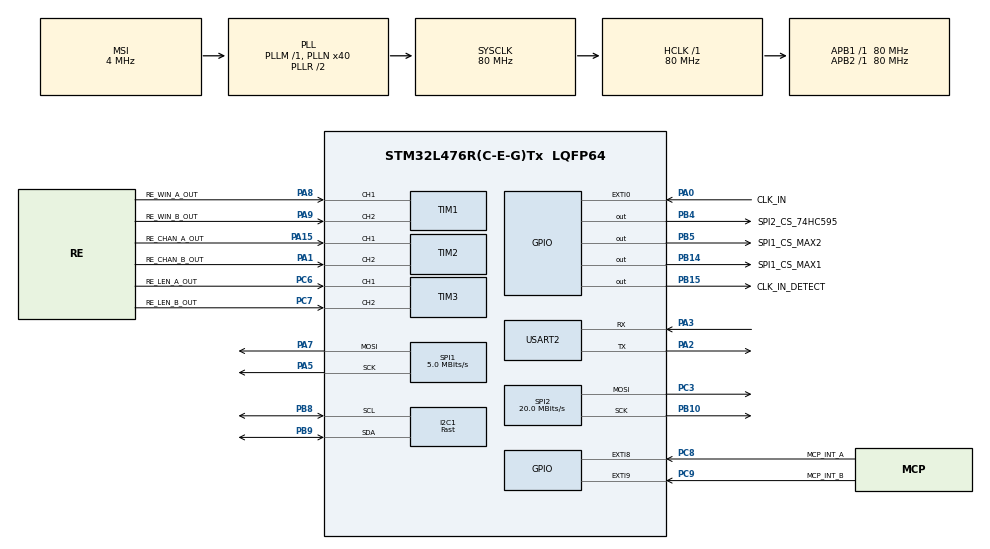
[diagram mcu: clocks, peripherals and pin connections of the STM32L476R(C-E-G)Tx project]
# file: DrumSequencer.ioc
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Dma.I2C1_TX.0.Direction=DMA_MEMORY_TO_PERIPH
Dma.I2C1_TX.0.Instance=DMA1_Channel6
Dma.I2C1_TX.0.MemDataAlignment=DMA_MDATAALIGN_BYTE
Dma.I2C1_TX.0.MemInc=DMA_MINC_ENABLE
Dma.I2C1_TX.0.Mode=DMA_NORMAL
Dma.I2C1_TX.0.PeriphDataAlignment=DMA_PDATAALIGN_BYTE
Dma.I2C1_TX.0.PeriphInc=DMA_PINC_DISABLE
Dma.I2C1_TX.0.Priority=DMA_PRIORITY_LOW
Dma.Request0=I2C1_TX
I2C1.I2C_Speed_Mode=I2C_Fast
I2C1.Timing=0x00F12981
Mcu.Family=STM32L4
Mcu.Name=STM32L476R(C-E-G)Tx
Mcu.Package=LQFP64
NVIC.DMA1_Channel6_IRQn=true\:3\:0\:true\:false\:true\:false\:true\:true
NVIC.EXTI0_IRQn=true\:2\:0\:true\:false\:true\:true\:true\:true
NVIC.EXTI9_5_IRQn=true\:2\:0\:true\:false\:true\:true\:true\:true
NVIC.I2C1_ER_IRQn=true\:3\:0\:true\:false\:true\:true\:true\:true
NVIC.I2C1_EV_IRQn=true\:3\:0\:true\:false\:true\:true\:true\:true
NVIC.PriorityGroup=NVIC_PRIORITYGROUP_4
NVIC.TIM1_CC_IRQn=true\:2\:0\:true\:false\:true\:true\:true\:true
NVIC.TIM2_IRQn=true\:2\:0\:true\:false\:true\:true\:true\:true
NVIC.TIM3_IRQn=true\:2\:0\:true\:false\:true\:true\:true\:true
NVIC.TIM6_DAC_IRQn=true\:1\:0\:true\:false\:true\:true\:true\:true
PA0.GPIO_Label=CLK_IN
PA0.Signal=GPXTI0
PA1.GPIO_Label=RE_CHAN_B_OUT
PA1.Signal=S_TIM2_CH2
PA15\ (JTDI).GPIO_Label=RE_CHAN_A_OUT
PA15\ (JTDI).Signal=S_TIM2_CH1
PA2.Mode=Asynchronous
PA2.Signal=USART2_TX
PA3.Mode=Asynchronous
PA3.Signal=USART2_RX
PA5.Mode=TX_Only_Simplex_Unidirect_Master
PA5.Signal=SPI1_SCK
PA7.Mode=TX_Only_Simplex_Unidirect_Master
PA7.Signal=SPI1_MOSI
PA8.GPIO_Label=RE_WIN_A_OUT
PA8.Signal=S_TIM1_CH1
PA9.GPIO_Label=RE_WIN_B_OUT
PA9.Signal=S_TIM1_CH2
PB10.Mode=TX_Only_Simplex_Unidirect_Master
PB10.Signal=SPI2_SCK
PB14.GPIO_Label=SPI1_CS_MAX1
PB14.PinState=GPIO_PIN_SET
PB14.Signal=GPIO_Output
PB15.GPIO_Label=CLK_IN_DETECT
PB15.Signal=GPIO_Output
PB4\ (NJTRST).GPIO_Label=SPI2_CS_74HC595
PB4\ (NJTRST).Signal=GPIO_Output
PB5.GPIO_Label=SPI1_CS_MAX2
PB5.PinState=GPIO_PIN_SET
PB5.Signal=GPIO_Output
PB8.Mode=I2C
PB8.Signal=I2C1_SCL
PB9.Mode=I2C
PB9.Signal=I2C1_SDA
PC3.Mode=TX_Only_Simplex_Unidirect_Master
PC3.Signal=SPI2_MOSI
PC6.GPIO_Label=RE_LEN_A_OUT
PC6.Signal=S_TIM3_CH1
PC7.GPIO_Label=RE_LEN_B_OUT
PC7.Signal=S_TIM3_CH2
PC8.GPIO_Label=MCP_INT_A
PC8.GPIO_ModeDefaultEXTI=GPIO_MODE_IT_FALLING
PC8.Signal=GPXTI8
PC9.GPIO_Label=MCP_INT_B
PC9.Signal=GPXTI9
ProjectManager.HeapSize=0x200
ProjectManager.StackSize=0x400
ProjectManager.TargetToolchain=STM32CubeIDE
RCC.ADCFreq_Value=16000000
RCC.AHBFreq_Value=80000000
RCC.APB1Freq_Value=80000000
RCC.APB1TimFreq_Value=80000000
RCC.APB2Freq_Value=80000000
RCC.APB2TimFreq_Value=80000000
RCC.CortexFreq_Value=80000000
RCC.HCLKFreq_Value=80000000
RCC.HSE_VALUE=8000000
RCC.HSI_VALUE=16000000
RCC.LSE_VALUE=32768
RCC.MSI_VALUE=4000000
RCC.PLLN=40
RCC.PREFETCH_ENABLE=1
RCC.SYSCLKFreq_VALUE=80000000
RCC.SYSCLKSource=RCC_SYSCLKSOURCE_PLLCLK
RCC.USBFreq_Value=16000000
RCC.VCOOutputFreq_Value=160000000
SH.S_TIM1_CH1.0=TIM1_CH1,Encoder_Interface
SH.S_TIM1_CH2.0=TIM1_CH2,Encoder_Interface
SH.S_TIM2_CH1.0=TIM2_CH1,Encoder_Interface
SH.S_TIM2_CH2.0=TIM2_CH2,Encoder_Interface
SH.S_TIM3_CH1.0=TIM3_CH1,Encoder_Interface
SH.S_TIM3_CH2.0=TIM3_CH2,Encoder_Interface
SPI1.BaudRatePrescaler=SPI_BAUDRATEPRESCALER_16
SPI1.CalculateBaudRate=5.0 MBits/s
SPI1.DataSize=SPI_DATASIZE_8BIT
SPI1.Direction=SPI_DIRECTION_2LINES
SPI1.Mode=SPI_MODE_MASTER
SPI1.NSSPMode=SPI_NSS_PULSE_DISABLE
SPI1.VirtualType=VM_MASTER
SPI2.BaudRatePrescaler=SPI_BAUDRATEPRESCALER_4
SPI2.CLKPhase=SPI_PHASE_1EDGE
SPI2.CalculateBaudRate=20.0 MBits/s
SPI2.DataSize=SPI_DATASIZE_8BIT
SPI2.Direction=SPI_DIRECTION_2LINES
SPI2.FirstBit=SPI_FIRSTBIT_MSB
SPI2.Mode=SPI_MODE_MASTER
SPI2.VirtualType=VM_MASTER
TIM6.Period=999
TIM6.Prescaler=79
USART2.VirtualMode-Asynchronous=VM_ASYNC
USART2.WordLength=WORDLENGTH_7B
VP_TIM6_VS_ClockSourceINT.Mode=Enable_Timer
board=NUCLEO-L476RG

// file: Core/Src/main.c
/* USER CODE BEGIN Header */
/**
 ******************************************************************************
 * @file           : main.c
 * @brief          : Main program body
 ******************************************************************************
 * @attention
 *
 * Copyright (c) 2026 STMicroelectronics.
 * All rights reserved.
 *
 * This software is licensed under terms that can be found in the LICENSE file
 * in the root directory of this software component.
 * If no LICENSE file comes with this software, it is provided AS-IS.
 *
 ******************************************************************************
 */
/* USER CODE END Header */
#include "main.h"

/* USER CODE BEGIN Includes */
#include "stdio.h"
#include "MAX7219.h"
#include "MCP23017.h"
#include "74HC595.h"
#include "Encoder.h"
#include "SSD1306.h"
#include "sequencer.h"
#include "ui.h"
#include "utils.h"
#include "flash.h"
#include "seq_lock.h"

/* USER CODE END Includes */

/* USER CODE BEGIN PD */
#if DEBUG_LOG
  #define UI_LOG(...) printf(__VA_ARGS__)
#else
  #define UI_LOG(...) ((void)0)
#endif
/* USER CODE END PD */

I2C_HandleTypeDef hi2c1;
DMA_HandleTypeDef hdma_i2c1_tx;

SPI_HandleTypeDef hspi1;
SPI_HandleTypeDef hspi2;

TIM_HandleTypeDef htim1;
TIM_HandleTypeDef htim2;
TIM_HandleTypeDef htim3;
TIM_HandleTypeDef htim6;

UART_HandleTypeDef huart2;

/* USER CODE BEGIN PV */

// ── External Clock Input  ──────────────────────────────────────────────────────────────
volatile uint8_t clock_tick = 0;  /* set by EXTI0, consumed by Seq_Tick_ISR */

// ── UI ─────────────────────────────────────────────────────────────
UIContext_t ui_ctx;

// ── Encoders ──────────────────────────────────────────────────────────────
// A = channel select  → TIM2
// B = channel length  → TIM3
// C = view window     → TIM1
Encoder_t *encA;
Encoder_t *encB;
Encoder_t *encC;

// Last known counts — used to compute delta each loop tick
static int16_t last_cnt_A = 0;
static int16_t last_cnt_B = 0;
static int16_t last_cnt_C = 0;

// ── Sequencer ─────────────────────────────────────────────────────────────
Sequencer_t seq;
// Copy of seq the OLED is drawn from, so drawing doesn't hold SEQ_LOCK
static Sequencer_t seq_display;

// ── MCP ───────────────────────────────────────────────────────────────────
MCP23017_Handle mcp;
/* USER CODE END PV */

void SystemClock_Config(void);
static void MX_GPIO_Init(void);
static void MX_DMA_Init(void);
static void MX_SPI1_Init(void);
static void MX_I2C1_Init(void);
static void MX_USART2_UART_Init(void);
static void MX_TIM3_Init(void);
static void MX_SPI2_Init(void);
static void MX_TIM1_Init(void);
static void MX_TIM2_Init(void);
static void MX_TIM6_Init(void);
/* USER CODE BEGIN PFP */
#define PUTCHAR_PROTOTYPE int __io_putchar(int ch)
/* USER CODE END PFP */

/* USER CODE BEGIN 0 */

static void apply_clock_mode_impl(uint8_t clock_mode) {
    GPIO_InitTypeDef g = {
        .Pin   = CLK_IN_Pin,
        .Pull  = GPIO_NOPULL,
        .Speed = GPIO_SPEED_FREQ_LOW,
    };
    if (clock_mode == 1) {
        g.Mode = GPIO_MODE_OUTPUT_PP;
        HAL_GPIO_Init(CLK_IN_GPIO_Port, &g);
        HAL_NVIC_DisableIRQ(EXTI0_IRQn);
    } else {
        g.Mode = GPIO_MODE_IT_RISING;
        HAL_GPIO_Init(CLK_IN_GPIO_Port, &g);
        HAL_NVIC_EnableIRQ(EXTI0_IRQn);
    }
}

static void clock_output(uint8_t high) {
	HAL_GPIO_WritePin(CLK_IN_GPIO_Port, CLK_IN_Pin, high);
}

static UIFlashResult_t flash_write_impl(uint8_t slot, const SeqPreset_t *preset) {
    return Flash_WritePreset(slot, preset) == HAL_OK ? UI_FLASH_OK : UI_FLASH_ERR;
}
static void flash_read_impl(uint8_t slot, SeqPreset_t *preset) {
    Flash_ReadPreset(slot, preset);
}
static uint8_t flash_valid_impl(uint8_t slot) {
    return Flash_SlotValid(slot);
}

// ── MCP23017 button callback ───────────────────────────────────────────────
static void OnStepButton(MCP23017_Port port, MCP23017_Pin pin, uint8_t state) {
	if (port != MCP23017_PORT_A || pin >= 8) return;

	uint32_t now = Seq_NowMs();

	UIQueue_Push((UIEvent_t){
		.tick_ms = now,
		.type  = state ? EVT_STEP_PRESS : EVT_STEP_RELEASE,
		.value = pin
	});
}

static void OnFunctionButton(MCP23017_Port port, MCP23017_Pin pin, uint8_t state) {
	if (port != MCP23017_PORT_B) return;

	uint32_t now = Seq_NowMs();

	switch (pin) {
	case 0:
		UIQueue_Push((UIEvent_t){
			.tick_ms = now,
			.type = state ? EVT_ALT_PRESS : EVT_ALT_RELEASE
		});
		break;
	case 1:
		UIQueue_Push((UIEvent_t){
			.tick_ms = now,
					.type = state ? EVT_FILL_PRESS : EVT_FILL_RELEASE
		});
		break;
	case 5:
		UIQueue_Push((UIEvent_t){
			.tick_ms = now,
					.type = state ? EVT_RECORD_PRESS : EVT_RECORD_RELEASE
		});
		break;
	case 2: if (state == 1) UIQueue_Push((UIEvent_t){ .tick_ms = now, .type = EVT_ENC_A_PUSH }); break;
	case 3: if (state == 1) UIQueue_Push((UIEvent_t){ .tick_ms = now,.type = EVT_ENC_B_PUSH }); break;
	case 4: if (state == 1) UIQueue_Push((UIEvent_t){ .tick_ms = now,.type = EVT_ENC_C_PUSH }); break;
	}
}

/* USER CODE END 0 */

int main(void)
{

  /* MCU Configuration--------------------------------------------------------*/

  /* Reset of all peripherals, Initializes the Flash interface and the Systick. */
  HAL_Init();

  /* Configure the system clock */
  SystemClock_Config();

  /* Initialize all configured peripherals */
  MX_GPIO_Init();
  MX_DMA_Init();
  MX_SPI1_Init();
  MX_I2C1_Init();
  MX_USART2_UART_Init();
  MX_TIM3_Init();
  MX_SPI2_Init();
  MX_TIM1_Init();
  MX_TIM2_Init();
  MX_TIM6_Init();
  /* USER CODE BEGIN 2 */

	 UI_LOG("\n\n\n\n-----------------\r\nStarting\r\n-----------------\r\n");

	 // ── Sequencer ─────────────────────────────────────────────────────────
	 Seq_Init(&seq, clock_output);
	 UI_LOG("Initialized Sequencer\r\n");

	 // ── UI ─────────────────────────────────────────────────────────
	 UI_Init(&ui_ctx,
			 flash_write_impl,
			 flash_read_impl,
			 flash_valid_impl,
			 apply_clock_mode_impl);
	 UI_LOG("Initialized UI\r\n");

	 apply_clock_mode_impl(seq.clock_mode);

	 // ── Encoders ──────────────────────────────────────────────────────────
	 encA = Encoder_Add(&htim3); // Turn A = channel select
	 encB = Encoder_Add(&htim2); // Turn B = channel length
	 encC = Encoder_Add(&htim1); // Turn C = view window

	 Encoder_Start(encA);
	 Encoder_Start(encB);
	 Encoder_Start(encC);

	 last_cnt_A = Encoder_GetCount(encA);
	 last_cnt_B = Encoder_GetCount(encB);
	 last_cnt_C = Encoder_GetCount(encC);

	 UI_LOG("Initialized Encoders\r\n");

	 MAX7219_init();

	 UI_LOG("Initialized MAX7219\r\n");
	 //enc1 = Encoder_Add(&htim3);
	 //Encoder_Start(enc1);

	 MCP23017_InitHandle(&mcp, &hi2c1, 0);

	 // Step buttons → PORT_A pins 0–7
	 for (uint8_t i = 0; i < 8; i++) {
		 MCP23017_SetPinMode(&mcp,     MCP23017_PORT_A, i, MCP23017_MODE_INPUT);
		 MCP23017_SetPinCallback(&mcp, MCP23017_PORT_A, i, OnStepButton);
	 }

	 // Encoder A push button
	 MCP23017_SetPinMode(&mcp,     MCP23017_PORT_B, 2, MCP23017_MODE_INPUT);
	 MCP23017_SetPinCallback(&mcp, MCP23017_PORT_B, 2, OnFunctionButton);

	 // Encoder B push button
	 MCP23017_SetPinMode(&mcp,     MCP23017_PORT_B, 3, MCP23017_MODE_INPUT);
	 MCP23017_SetPinCallback(&mcp, MCP23017_PORT_B, 3, OnFunctionButton);

	 // Encoder C push button
	 MCP23017_SetPinMode(&mcp,     MCP23017_PORT_B, 4, MCP23017_MODE_INPUT);
	 MCP23017_SetPinCallback(&mcp, MCP23017_PORT_B, 4, OnFunctionButton);

	 // ALT Button
	 MCP23017_SetPinMode(&mcp,     MCP23017_PORT_B, 0, MCP23017_MODE_INPUT);
	 MCP23017_SetPinCallback(&mcp, MCP23017_PORT_B, 0, OnFunctionButton);

	 // FILL Button
	 MCP23017_SetPinMode(&mcp,     MCP23017_PORT_B, 1, MCP23017_MODE_INPUT);
	 MCP23017_SetPinCallback(&mcp, MCP23017_PORT_B, 1, OnFunctionButton);

	 // Record Button
	 MCP23017_SetPinMode(&mcp,     MCP23017_PORT_B, 5, MCP23017_MODE_INPUT);
	 MCP23017_SetPinCallback(&mcp, MCP23017_PORT_B, 5, OnFunctionButton);

	 UI_LOG("Initialized MCP23017\r\n");

	 HC595_init(&hspi2);
	 HC595_clear();

	 // Test: Set all button LEDs on
	 uint8_t data[HC595_NUM_DEVICES];
	 data[0] = 0xFF;
	 data[1] = 0x00;
	 data[2] = 	0x00;

	 HC595_write(data);

	 UI_LOG("Initialized 74HC595\r\n");

	 SSD1306_Init(&hi2c1);

	 // Splash screen
	 SSD1306_Fill(0);
	 UI_LOG("Initialized SSD1306\r\n");

	 seq.running = 1;

	 /* ── Transport ────────────────────────────────────────────────────────
		Everything the ISR touches (sequencer state, HC595/SPI2) is now
		initialised, so it is safe to start the 1 kHz interrupt.            */
	 __HAL_TIM_CLEAR_FLAG(&htim6, TIM_FLAG_UPDATE);
	 HAL_TIM_Base_Start_IT(&htim6);
	 UI_LOG("Transport running (TIM6 @ 1 kHz)\r\n");
  /* USER CODE END 2 */

  /* Infinite loop */
  /* USER CODE BEGIN WHILE */
	 while (1)
	 {
		 uint32_t now = Seq_NowMs();

		 // ── Input: encoders ───────────────────────────────────────────────
		 if (Encoder_HasChanged(encA)) {
			 int16_t cnt = Encoder_GetCount(encA);
			 UIQueue_Push((UIEvent_t){ .tick_ms = now, .type = EVT_ENC_A_TURN,
									   .value = cnt - last_cnt_A });
			 last_cnt_A = cnt;
		 }
		 if (Encoder_HasChanged(encB)) {
			 int16_t cnt = Encoder_GetCount(encB);
			 UIQueue_Push((UIEvent_t){ .tick_ms = now, .type = EVT_ENC_B_TURN,
									   .value = cnt - last_cnt_B });
			 last_cnt_B = cnt;
		 }
		 if (Encoder_HasChanged(encC)) {
			 int16_t cnt = Encoder_GetCount(encC);
			 UIQueue_Push((UIEvent_t){ .tick_ms = now, .type = EVT_ENC_C_TURN,
									   .value = cnt - last_cnt_C });
			 last_cnt_C = cnt;
		 }

		 // ── Input: buttons. Shares I2C1 with the OLED, so only when the bus
		 //    is free. Worst-case latency = one page strip ≈ 2.5 ms.
		 //    NOTE: must come BEFORE SSD1306_Service() so that on the loop
		 //    iteration after a strip completes we get a poll in before the
		 //    next strip is kicked, rather than starving for a whole frame.
		 if (!SSD1306_BusBusy()) {
			 MCP23017_Poll(&mcp);
		 }

		 // ── Dispatch: mutates sequencer state shared with the transport ────
		 UIEvent_t evt;
		 while (UIQueue_Pop(&evt)) {
			 SEQ_LOCK();
			 UI_Dispatch(&ui_ctx, &seq, &evt);
			 SEQ_UNLOCK();
		 }

		 // ── Deferred flash (outside the lock — blocks for ~90 ms) ──────────
		 if (ui_ctx.flash_req) {
			 uint8_t req  = ui_ctx.flash_req;
			 uint8_t slot = ui_ctx.flash_slot;
			 ui_ctx.flash_req = 0;

			 if (req == 1) {
				 SeqPreset_t preset;
				 SEQ_LOCK();
				 Seq_SaveToPreset(&seq, &preset, seq.internal_bpm);
				 SEQ_UNLOCK();
				 Flash_WritePreset(slot, &preset);
			 } else if (Flash_SlotValid(slot)) {
				 SeqPreset_t preset;
				 Flash_ReadPreset(slot, &preset);
				 SEQ_LOCK();
				 Seq_LoadFromPreset(&seq, &preset, &seq.internal_bpm);
				 seq.pending_internal_bpm     = seq.internal_bpm;
				 seq.has_pending_internal_bpm = 0;
				 SEQ_UNLOCK();
			 }
			 ui_ctx.matrix_dirty = ui_ctx.stepleds_dirty = ui_ctx.display_dirty = 1;
		 }

		 // ── Step LEDs: publishes a byte, no bus access, ~1 µs ──────────────
		 if (ui_ctx.stepleds_dirty) {
			 ui_ctx.stepleds_dirty = 0;          /* clear BEFORE rendering */
			 SEQ_LOCK();
			 UI_UpdateStepLEDs(&ui_ctx, &seq);
			 SEQ_UNLOCK();
		 }

		 // ── LED matrix: SPI1, ~0.4 ms blocking. Fine — SPI1 is not shared
		 //    with the transport, which uses SPI2.
		 if (ui_ctx.matrix_dirty) {
			 ui_ctx.matrix_dirty = 0;
			 UI_UpdateMatrix(&ui_ctx, &seq);
		 }

		 // ── OLED: pump the current frame, then start a new one if needed ───
		 SSD1306_Service();

		 if (ui_ctx.display_dirty && !SSD1306_UpdateBusy()) {
			 ui_ctx.display_dirty = 0;
			 /* Drawing the text pixel by pixel takes several ms, well past the
			    1 ms the lock can be held without dropping transport ticks (which
			    slows the internal clock down). So only copying the state is
			    locked, and the drawing works from the copy. */
			 SEQ_LOCK();
			 seq_display = seq;
			 SEQ_UNLOCK();
			 UI_RenderDisplay(&ui_ctx, &seq_display);    /* buffer only, no I2C */
			 SSD1306_UpdateStart();
		 }
    /* USER CODE END WHILE */

	 }
}

void SystemClock_Config(void)
{
  RCC_OscInitTypeDef RCC_OscInitStruct = {0};
  RCC_ClkInitTypeDef RCC_ClkInitStruct = {0};

  /** Configure the main internal regulator output voltage
  */
  if (HAL_PWREx_ControlVoltageScaling(PWR_REGULATOR_VOLTAGE_SCALE1) != HAL_OK)
  {
    Error_Handler();
  }

  /** Initializes the RCC Oscillators according to the specified parameters
  * in the RCC_OscInitTypeDef structure.
  */
  RCC_OscInitStruct.OscillatorType = RCC_OSCILLATORTYPE_MSI;
  RCC_OscInitStruct.MSIState = RCC_MSI_ON;
  RCC_OscInitStruct.MSICalibrationValue = 0;
  RCC_OscInitStruct.MSIClockRange = RCC_MSIRANGE_6;
  RCC_OscInitStruct.PLL.PLLState = RCC_PLL_ON;
  RCC_OscInitStruct.PLL.PLLSource = RCC_PLLSOURCE_MSI;
  RCC_OscInitStruct.PLL.PLLM = 1;
  RCC_OscInitStruct.PLL.PLLN = 40;
  RCC_OscInitStruct.PLL.PLLP = RCC_PLLP_DIV7;
  RCC_OscInitStruct.PLL.PLLQ = RCC_PLLQ_DIV2;
  RCC_OscInitStruct.PLL.PLLR = RCC_PLLR_DIV2;
  if (HAL_RCC_OscConfig(&RCC_OscInitStruct) != HAL_OK)
  {
    Error_Handler();
  }

  /** Initializes the CPU, AHB and APB buses clocks
  */
  RCC_ClkInitStruct.ClockType = RCC_CLOCKTYPE_HCLK|RCC_CLOCKTYPE_SYSCLK
                              |RCC_CLOCKTYPE_PCLK1|RCC_CLOCKTYPE_PCLK2;
  RCC_ClkInitStruct.SYSCLKSource = RCC_SYSCLKSOURCE_PLLCLK;
  RCC_ClkInitStruct.AHBCLKDivider = RCC_SYSCLK_DIV1;
  RCC_ClkInitStruct.APB1CLKDivider = RCC_HCLK_DIV1;
  RCC_ClkInitStruct.APB2CLKDivider = RCC_HCLK_DIV1;

  if (HAL_RCC_ClockConfig(&RCC_ClkInitStruct, FLASH_LATENCY_4) != HAL_OK)
  {
    Error_Handler();
  }
}

static void MX_I2C1_Init(void)
{

  hi2c1.Instance = I2C1;
  hi2c1.Init.Timing = 0x00F12981;
  hi2c1.Init.OwnAddress1 = 0;
  hi2c1.Init.AddressingMode = I2C_ADDRESSINGMODE_7BIT;
  hi2c1.Init.DualAddressMode = I2C_DUALADDRESS_DISABLE;
  hi2c1.Init.OwnAddress2 = 0;
  hi2c1.Init.OwnAddress2Masks = I2C_OA2_NOMASK;
  hi2c1.Init.GeneralCallMode = I2C_GENERALCALL_DISABLE;
  hi2c1.Init.NoStretchMode = I2C_NOSTRETCH_DISABLE;
  if (HAL_I2C_Init(&hi2c1) != HAL_OK)
  {
    Error_Handler();
  }

  /** Configure Analogue filter
  */
  if (HAL_I2CEx_ConfigAnalogFilter(&hi2c1, I2C_ANALOGFILTER_ENABLE) != HAL_OK)
  {
    Error_Handler();
  }

  /** Configure Digital filter
  */
  if (HAL_I2CEx_ConfigDigitalFilter(&hi2c1, 0) != HAL_OK)
  {
    Error_Handler();
  }

}

static void MX_SPI1_Init(void)
{

  /* SPI1 parameter configuration*/
  hspi1.Instance = SPI1;
  hspi1.Init.Mode = SPI_MODE_MASTER;
  hspi1.Init.Direction = SPI_DIRECTION_2LINES;
  hspi1.Init.DataSize = SPI_DATASIZE_8BIT;
  hspi1.Init.CLKPolarity = SPI_POLARITY_LOW;
  hspi1.Init.CLKPhase = SPI_PHASE_1EDGE;
  hspi1.Init.NSS = SPI_NSS_SOFT;
  hspi1.Init.BaudRatePrescaler = SPI_BAUDRATEPRESCALER_16;
  hspi1.Init.FirstBit = SPI_FIRSTBIT_MSB;
  hspi1.Init.TIMode = SPI_TIMODE_DISABLE;
  hspi1.Init.CRCCalculation = SPI_CRCCALCULATION_DISABLE;
  hspi1.Init.CRCPolynomial = 7;
  hspi1.Init.CRCLength = SPI_CRC_LENGTH_DATASIZE;
  hspi1.Init.NSSPMode = SPI_NSS_PULSE_DISABLE;
  if (HAL_SPI_Init(&hspi1) != HAL_OK)
  {
    Error_Handler();
  }

}

static void MX_SPI2_Init(void)
{

  /* SPI2 parameter configuration*/
  hspi2.Instance = SPI2;
  hspi2.Init.Mode = SPI_MODE_MASTER;
  hspi2.Init.Direction = SPI_DIRECTION_2LINES;
  hspi2.Init.DataSize = SPI_DATASIZE_8BIT;
  hspi2.Init.CLKPolarity = SPI_POLARITY_LOW;
  hspi2.Init.CLKPhase = SPI_PHASE_1EDGE;
  hspi2.Init.NSS = SPI_NSS_SOFT;
  hspi2.Init.BaudRatePrescaler = SPI_BAUDRATEPRESCALER_4;
  hspi2.Init.FirstBit = SPI_FIRSTBIT_MSB;
  hspi2.Init.TIMode = SPI_TIMODE_DISABLE;
  hspi2.Init.CRCCalculation = SPI_CRCCALCULATION_DISABLE;
  hspi2.Init.CRCPolynomial = 7;
  hspi2.Init.CRCLength = SPI_CRC_LENGTH_DATASIZE;
  hspi2.Init.NSSPMode = SPI_NSS_PULSE_ENABLE;
  if (HAL_SPI_Init(&hspi2) != HAL_OK)
  {
    Error_Handler();
  }

}

static void MX_TIM1_Init(void)
{

  TIM_Encoder_InitTypeDef sConfig = {0};
  TIM_MasterConfigTypeDef sMasterConfig = {0};

  htim1.Instance = TIM1;
  htim1.Init.Prescaler = 0;
  htim1.Init.CounterMode = TIM_COUNTERMODE_UP;
  htim1.Init.Period = 65535;
  htim1.Init.ClockDivision = TIM_CLOCKDIVISION_DIV1;
  htim1.Init.RepetitionCounter = 0;
  htim1.Init.AutoReloadPreload = TIM_AUTORELOAD_PRELOAD_DISABLE;
  sConfig.EncoderMode = TIM_ENCODERMODE_TI1;
  sConfig.IC1Polarity = TIM_ICPOLARITY_RISING;
  sConfig.IC1Selection = TIM_ICSELECTION_DIRECTTI;
  sConfig.IC1Prescaler = TIM_ICPSC_DIV1;
  sConfig.IC1Filter = 0;
  sConfig.IC2Polarity = TIM_ICPOLARITY_RISING;
  sConfig.IC2Selection = TIM_ICSELECTION_DIRECTTI;
  sConfig.IC2Prescaler = TIM_ICPSC_DIV1;
  sConfig.IC2Filter = 0;
  if (HAL_TIM_Encoder_Init(&htim1, &sConfig) != HAL_OK)
  {
    Error_Handler();
  }
  sMasterConfig.MasterOutputTrigger = TIM_TRGO_RESET;
  sMasterConfig.MasterOutputTrigger2 = TIM_TRGO2_RESET;
  sMasterConfig.MasterSlaveMode = TIM_MASTERSLAVEMODE_DISABLE;
  if (HAL_TIMEx_MasterConfigSynchronization(&htim1, &sMasterConfig) != HAL_OK)
  {
    Error_Handler();
  }

}

static void MX_TIM2_Init(void)
{

  TIM_Encoder_InitTypeDef sConfig = {0};
  TIM_MasterConfigTypeDef sMasterConfig = {0};

  htim2.Instance = TIM2;
  htim2.Init.Prescaler = 0;
  htim2.Init.CounterMode = TIM_COUNTERMODE_UP;
  htim2.Init.Period = 4294967295;
  htim2.Init.ClockDivision = TIM_CLOCKDIVISION_DIV1;
  htim2.Init.AutoReloadPreload = TIM_AUTORELOAD_PRELOAD_DISABLE;
  sConfig.EncoderMode = TIM_ENCODERMODE_TI1;
  sConfig.IC1Polarity = TIM_ICPOLARITY_RISING;
  sConfig.IC1Selection = TIM_ICSELECTION_DIRECTTI;
  sConfig.IC1Prescaler = TIM_ICPSC_DIV1;
  sConfig.IC1Filter = 0;
  sConfig.IC2Polarity = TIM_ICPOLARITY_RISING;
  sConfig.IC2Selection = TIM_ICSELECTION_DIRECTTI;
  sConfig.IC2Prescaler = TIM_ICPSC_DIV1;
  sConfig.IC2Filter = 0;
  if (HAL_TIM_Encoder_Init(&htim2, &sConfig) != HAL_OK)
  {
    Error_Handler();
  }
  sMasterConfig.MasterOutputTrigger = TIM_TRGO_RESET;
  sMasterConfig.MasterSlaveMode = TIM_MASTERSLAVEMODE_DISABLE;
  if (HAL_TIMEx_MasterConfigSynchronization(&htim2, &sMasterConfig) != HAL_OK)
  {
    Error_Handler();
  }

}

static void MX_TIM3_Init(void)
{

  TIM_Encoder_InitTypeDef sConfig = {0};
  TIM_MasterConfigTypeDef sMasterConfig = {0};

  htim3.Instance = TIM3;
  htim3.Init.Prescaler = 0;
  htim3.Init.CounterMode = TIM_COUNTERMODE_UP;
  htim3.Init.Period = 65535;
  htim3.Init.ClockDivision = TIM_CLOCKDIVISION_DIV1;
  htim3.Init.AutoReloadPreload = TIM_AUTORELOAD_PRELOAD_DISABLE;
  sConfig.EncoderMode = TIM_ENCODERMODE_TI1;
  sConfig.IC1Polarity = TIM_ICPOLARITY_RISING;
  sConfig.IC1Selection = TIM_ICSELECTION_DIRECTTI;
  sConfig.IC1Prescaler = TIM_ICPSC_DIV1;
  sConfig.IC1Filter = 0;
  sConfig.IC2Polarity = TIM_ICPOLARITY_RISING;
  sConfig.IC2Selection = TIM_ICSELECTION_DIRECTTI;
  sConfig.IC2Prescaler = TIM_ICPSC_DIV1;
  sConfig.IC2Filter = 0;
  if (HAL_TIM_Encoder_Init(&htim3, &sConfig) != HAL_OK)
  {
    Error_Handler();
  }
  sMasterConfig.MasterOutputTrigger = TIM_TRGO_RESET;
  sMasterConfig.MasterSlaveMode = TIM_MASTERSLAVEMODE_DISABLE;
  if (HAL_TIMEx_MasterConfigSynchronization(&htim3, &sMasterConfig) != HAL_OK)
  {
    Error_Handler();
  }

}

static void MX_TIM6_Init(void)
{

  TIM_MasterConfigTypeDef sMasterConfig = {0};

  htim6.Instance = TIM6;
  htim6.Init.Prescaler = 79;
  htim6.Init.CounterMode = TIM_COUNTERMODE_UP;
  htim6.Init.Period = 999;
  htim6.Init.AutoReloadPreload = TIM_AUTORELOAD_PRELOAD_DISABLE;
  if (HAL_TIM_Base_Init(&htim6) != HAL_OK)
  {
    Error_Handler();
  }
  sMasterConfig.MasterOutputTrigger = TIM_TRGO_RESET;
  sMasterConfig.MasterSlaveMode = TIM_MASTERSLAVEMODE_DISABLE;
  if (HAL_TIMEx_MasterConfigSynchronization(&htim6, &sMasterConfig) != HAL_OK)
  {
    Error_Handler();
  }

}

static void MX_USART2_UART_Init(void)
{

  huart2.Instance = USART2;
  huart2.Init.BaudRate = 115200;
  huart2.Init.WordLength = UART_WORDLENGTH_7B;
  huart2.Init.StopBits = UART_STOPBITS_1;
  huart2.Init.Parity = UART_PARITY_NONE;
  huart2.Init.Mode = UART_MODE_TX_RX;
  huart2.Init.HwFlowCtl = UART_HWCONTROL_NONE;
  huart2.Init.OverSampling = UART_OVERSAMPLING_16;
  huart2.Init.OneBitSampling = UART_ONE_BIT_SAMPLE_DISABLE;
  huart2.AdvancedInit.AdvFeatureInit = UART_ADVFEATURE_NO_INIT;
  if (HAL_UART_Init(&huart2) != HAL_OK)
  {
    Error_Handler();
  }

}

static void MX_DMA_Init(void)
{

  /* DMA controller clock enable */
  __HAL_RCC_DMA1_CLK_ENABLE();

  /* DMA interrupt init */
  /* DMA1_Channel6_IRQn interrupt configuration */
  HAL_NVIC_SetPriority(DMA1_Channel6_IRQn, 3, 0);
  HAL_NVIC_EnableIRQ(DMA1_Channel6_IRQn);

}

static void MX_GPIO_Init(void)
{
  GPIO_InitTypeDef GPIO_InitStruct = {0};

  /* GPIO Ports Clock Enable */
  __HAL_RCC_GPIOC_CLK_ENABLE();
  __HAL_RCC_GPIOA_CLK_ENABLE();
  __HAL_RCC_GPIOB_CLK_ENABLE();

  /*Configure GPIO pin Output Level */
  HAL_GPIO_WritePin(GPIOB, SPI1_CS_MAX1_Pin|SPI1_CS_MAX2_Pin, GPIO_PIN_SET);

  /*Configure GPIO pin Output Level */
  HAL_GPIO_WritePin(GPIOB, CLK_IN_DETECT_Pin|SPI2_CS_74HC595_Pin, GPIO_PIN_RESET);

  /*Configure GPIO pin : CLK_IN_Pin */
  GPIO_InitStruct.Pin = CLK_IN_Pin;
  GPIO_InitStruct.Mode = GPIO_MODE_IT_RISING;
  GPIO_InitStruct.Pull = GPIO_NOPULL;
  HAL_GPIO_Init(CLK_IN_GPIO_Port, &GPIO_InitStruct);

  /*Configure GPIO pins : SPI1_CS_MAX1_Pin CLK_IN_DETECT_Pin SPI2_CS_74HC595_Pin SPI1_CS_MAX2_Pin */
  GPIO_InitStruct.Pin = SPI1_CS_MAX1_Pin|CLK_IN_DETECT_Pin|SPI2_CS_74HC595_Pin|SPI1_CS_MAX2_Pin;
  GPIO_InitStruct.Mode = GPIO_MODE_OUTPUT_PP;
  GPIO_InitStruct.Pull = GPIO_NOPULL;
  GPIO_InitStruct.Speed = GPIO_SPEED_FREQ_LOW;
  HAL_GPIO_Init(GPIOB, &GPIO_InitStruct);

  /*Configure GPIO pin : MCP_INT_A_Pin */
  GPIO_InitStruct.Pin = MCP_INT_A_Pin;
  GPIO_InitStruct.Mode = GPIO_MODE_IT_FALLING;
  GPIO_InitStruct.Pull = GPIO_NOPULL;
  HAL_GPIO_Init(MCP_INT_A_GPIO_Port, &GPIO_InitStruct);

  /*Configure GPIO pin : MCP_INT_B_Pin */
  GPIO_InitStruct.Pin = MCP_INT_B_Pin;
  GPIO_InitStruct.Mode = GPIO_MODE_IT_RISING;
  GPIO_InitStruct.Pull = GPIO_NOPULL;
  HAL_GPIO_Init(MCP_INT_B_GPIO_Port, &GPIO_InitStruct);

  /* EXTI interrupt init*/
  HAL_NVIC_SetPriority(EXTI0_IRQn, 2, 0);
  HAL_NVIC_EnableIRQ(EXTI0_IRQn);

  HAL_NVIC_SetPriority(EXTI9_5_IRQn, 2, 0);
  HAL_NVIC_EnableIRQ(EXTI9_5_IRQn);

}

/* USER CODE BEGIN 4 */

 /**
  * @brief  Retargets the C library printf function to the USART.
  *   None
  * @retval None
  */
 PUTCHAR_PROTOTYPE
 {
#if DEBUG_LOG
	 /* Place your implementation of fputc here */
	 /* e.g. write a character to the USART1 and Loop until the end of transmission */
	 HAL_UART_Transmit(&huart2, (uint8_t *)&ch, 1, 0xFFFF);
#endif
	 return ch;
 }

 void HAL_GPIO_EXTI_Callback(uint16_t GPIO_Pin)
 {
	 if (GPIO_Pin == CLK_IN_Pin) {
		 clock_tick = 1;
	 }
 }

 /* Called from TIM6_DAC_IRQHandler at exactly 1 kHz, NVIC priority 1.
    Hard budget: 50 µs. No printf, no HAL_Delay, no blocking I2C, no flash. */
 void Seq_Tick_ISR(void)
 {
 	uint8_t ext = 0;
 	if (clock_tick) {
 		clock_tick = 0;
 		/* Only count the edge if the input is still high. A clock pulse lasts
 		   longer than the 1 ms until this tick, a spike on the line doesn't. */
 		ext = HAL_GPIO_ReadPin(CLK_IN_GPIO_Port, CLK_IN_Pin) == GPIO_PIN_SET;
 	}

 	uint16_t ticked = Seq_ServiceTick(&seq, ext);

 	if (ticked) ui_ctx.matrix_dirty = 1;
 }

 void HAL_TIM_PeriodElapsedCallback(TIM_HandleTypeDef *htim)
 {
     if (htim->Instance == TIM6) Seq_Tick_ISR();
 }

 void HAL_I2C_MasterTxCpltCallback(I2C_HandleTypeDef *hi2c)
  {
 	 /* Only the SSD1306 uses interrupt/DMA mode on I2C1. The MCP23017 polls
 	    with the blocking API, which never raises this callback. */
 	 if (hi2c->Instance == I2C1) SSD1306_TxCpltISR();
  }

  void HAL_I2C_ErrorCallback(I2C_HandleTypeDef *hi2c)
  {
 	 if (hi2c->Instance == I2C1) SSD1306_ErrorISR();
  }

/* USER CODE END 4 */

void Error_Handler(void)
{
	 __disable_irq();
	 while (1)
	 {
	 }
}
